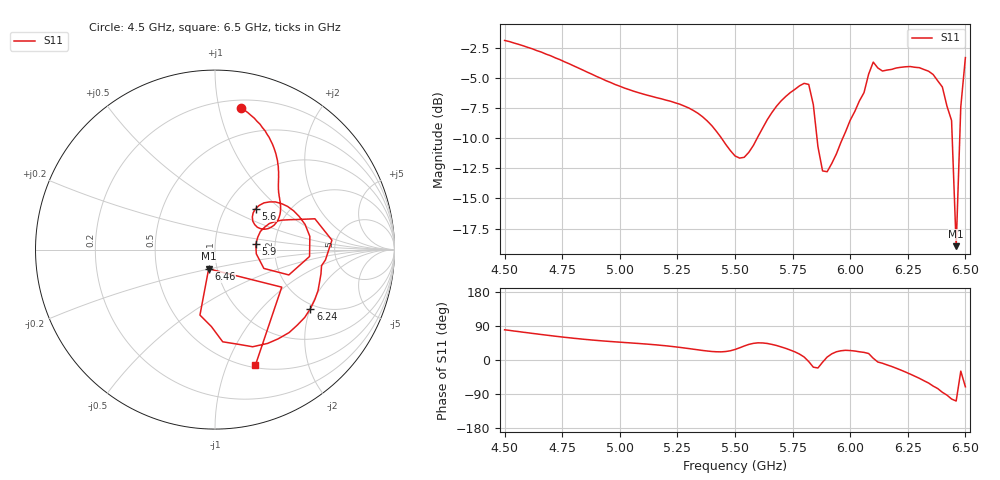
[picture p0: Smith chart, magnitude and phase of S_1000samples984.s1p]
! TOUCHSTONE file generated by CST MICROWAVE STUDIO
! Date and time: Sun Oct 30 00:13:22 2022
! Project name: L.cst
! Parameters = {Di=1.27; Epsilon_r=1.56; InnerDiameter=1.27; Length=2; Lf=10; Lg=60; OuterConductorThickness=0.2921; OuterDiameter=3.6; Wf=3; Wp=41.2; de=1.5; df=6.8; g=0.8; gx=0.800805; gy=3.47957; h=2.34; hf=1.524; px=11.4143; py=14.9212; w=9.7; wx=10.6135; wy=11.4417}
! Header version: 2018
! Port assignment regex: !\s*Touchstone port\s*([0-9]+)\s*=\s*(CST MWS port|CST DS port)\s*([0-9]+|Zmin|Zmax)\s*\(\"(.*)\"\)(\s*mode\s*([0-9]+))?.*
! Touchstone port assignment:
! Touchstone port 1 = CST MWS port 1 ("")
# GHz S DB R 50
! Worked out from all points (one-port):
!   101 points, 4.5 GHz to 6.5 GHz, reference 50 ohm
!   lowest |S11| = -19.0 dB at 6.46 GHz (marker M1), VSWR 1.25, Z = 45.6 - j9.88 ohm
!   |S11| at or under -10 dB: 5.441 GHz to 5.596 GHz (154.8 MHz wide, 2.81 % of centre); 5.856 GHz to 5.968 GHz (111.8 MHz wide, 1.89 % of centre); 6.443 GHz to 6.475 GHz (32.69 MHz wide, 0.506 % of centre)
!   S11 on the Smith chart (normalised r, x): 4.5 GHz: 0.26, +1.16; 5.6 GHz: 1.38, +0.70; 5.9 GHz: 1.58, +0.10; 6.24 GHz: 1.86, -2.01; 6.46 GHz: 0.91, -0.20; 6.5 GHz: 0.53, -1.27
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4.5  -1.90 79.7
4.76  -3.67 60.0
5  -5.69 47.1
5.26  -7.18 33.3
5.38  -8.58 23.7
5.5  -11.47 27.8
5.54  -11.59 36.9
5.6  -9.87 45.3
5.68  -7.35 38.3
5.76  -5.95 21.5
5.82  -5.54 -4.1
5.84  -7.23 -18.9
5.86  -10.71 -21.1
5.88  -12.71 -5.9
5.9  -12.79 7.7
6  -8.51 24.9
6.06  -6.22 20.1
6.08  -4.69 17.1
6.1  -3.69 4.6
6.12  -4.18 -5.3
6.24  -4.08 -31.7
6.26  -4.06 -37.1
6.36  -4.72 -68.8
6.4  -5.76 -85.2
6.44  -8.54 -102.9
6.46  -18.96 -108.2
6.48  -7.40 -29.4
6.5  -3.32 -70.7
